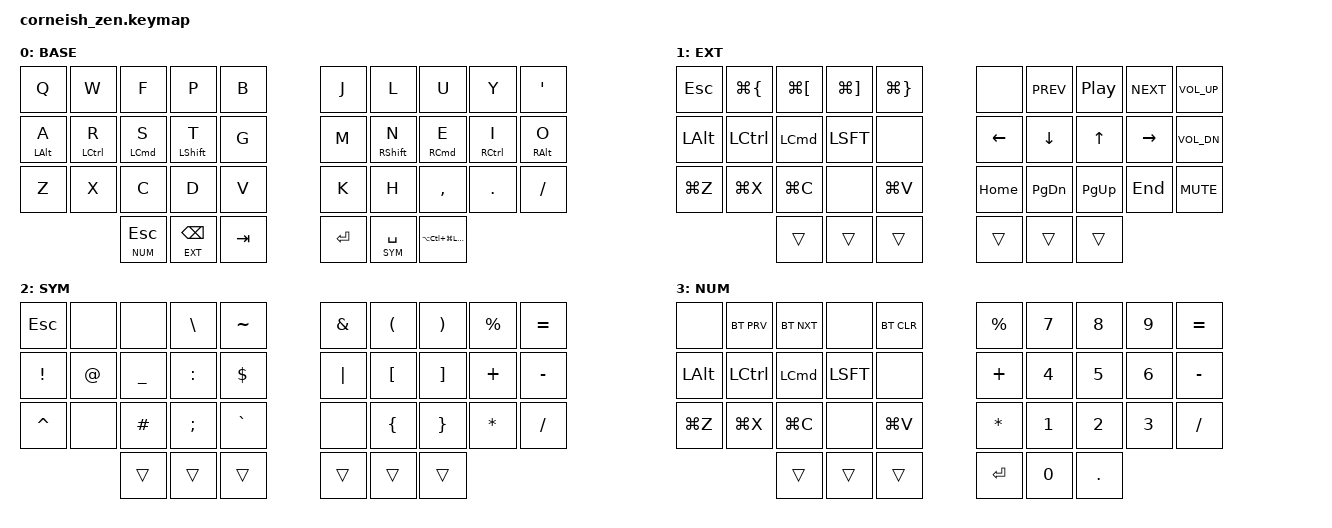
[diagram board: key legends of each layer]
/*
*
* Copyright (c) 2021 Darryl deHaan
* SPDX-License-Identifier: MIT
*
*/

#include <behaviors.dtsi>
#include <dt-bindings/zmk/keys.h>
#include <dt-bindings/zmk/bt.h>

/ {
  chosen {
    // zmk,matrix_transform = &default_transform;
    zmk,matrix_transform = &five_column_transform;
  };
};

#define DEFAULT 0
#define EXT    1
#define SYM    2
#define NUM    3

// https://zmk.dev/docs/behaviors/hold-tap
/ {
    behaviors {
      hm: balanced_homerow_mods {
        compatible = "zmk,behavior-hold-tap";
        label = "HOMEROW_MODS";
        #binding-cells = <2>;
        tapping-term-ms = <180>;
        quick-tap-ms = <0>;
        flavor = "balanced";
        bindings = <&kp>, <&kp>;
      };
      // For shift I do not want to chain the sticky key, I want it to bereleased
      // immediately
      // https://zmk.dev/docs/behaviors/sticky-key#example
      skq: sticky_key_quick_release {
        compatible = "zmk,behavior-sticky-key";
        label = "STICKY_KEY_QUICK_RELEASE";
        #binding-cells = <1>;
        bindings = <&kp>;
        release-after-ms = <1000>;
        quick-release;
      };
    };

    keymap {
      compatible = "zmk,keymap";

      default_layer {
        label = "BASE";
        bindings = <
          &kp Q      &kp W       &kp F      &kp P        &kp B        &kp J   &kp L        &kp U      &kp Y        &kp SQT
          &hm LALT A &hm LCTRL R &hm LCMD S &hm LSHIFT T &kp G        &kp M   &hm RSHIFT N &hm RCMD E &hm RCTRL I  &hm RALT O
          &kp Z      &kp X       &kp C      &kp D        &kp V        &kp K   &kp H        &kp COMMA  &kp DOT      &kp FSLH
                              &lt NUM ESC &lt EXT BSPC &kp TAB        &kp RET &lt SYM SPC &kp LA(LC(LG(LSHIFT)))
        >;
      };

      ext_layer {
        label = "EXT ";
        bindings = <
          &kp ESC   &kp LG(LBRC) &kp LG(LBKT) &kp LG(RBKT) &kp LG(RBRC)        &none    &kp C_PREV &kp C_PP  &kp C_NEXT &kp C_VOL_UP
          &kp LALT  &kp LCTL     &kp LCMD     &kp LSFT     &none               &kp LEFT &kp DOWN   &kp UP    &kp RIGHT  &kp C_VOL_DN
          &kp LG(Z) &kp LG(X)    &kp LG(C)    &none        &kp LG(V)           &kp HOME &kp PG_DN  &kp PG_UP &kp END    &kp C_MUTE
                                 &trans       &trans       &trans              &trans   &trans     &trans
        >;
      };

      sym_layer {
        label = "SYM ";
        bindings = <
          &kp ESC   &none  &none     &kp BSLH  &kp TILDE   &kp AMPS &kp LPAR &kp RPAR &kp PRCNT &kp EQUAL
          &kp EXCL  &kp AT &kp UNDER &kp COLON &kp DLLR    &kp PIPE &kp LBKT &kp RBKT &kp PLUS  &kp MINUS
          &kp CARET &none  &kp HASH  &kp SEMI  &kp GRAVE   &none    &kp LBRC &kp RBRC &kp ASTRK &kp SLASH
                           &trans    &trans    &trans      &trans   &trans   &trans
        >;
      };


      num_layer {
        label = "NUM ";
        bindings = <
          &none     &bt BT_PRV &bt BT_NXT &none    &bt BT_CLR  &kp PRCNT &kp N7    &kp N8    &kp N9    &kp EQUAL
          &kp LALT  &kp LCTL   &kp LCMD   &kp LSFT &none       &kp PLUS  &kp N4    &kp N5    &kp N6    &kp MINUS
          &kp LG(Z) &kp LG(X)  &kp LG(C)  &none    &kp LG(V)   &kp ASTRK &kp N1    &kp N2    &kp N3    &kp SLASH
                               &trans     &trans   &trans      &kp RET   &kp N0    &kp DOT
        >;
      };
    };

    // ==[ Combos ]=====================================================
    // https://zmk.dev/docs/features/combos
    //
    // ╭-----------------------------╮   ╭-----------------------------╮
    // |     |  1  |  2  |     |     |   |     |     |  7  |  8  |     |
    // |-----------------x-----x-----|   |-----x-----x-----------------|
    // |     |     |     | 13  |     |   |     | 16  |     |     |     |
    // |-----------------x-----x-----|   |-----x-----x-----------------|
    // |     |  21 |  22 |     |     |   |     |     |  27 |  28 |     |
    // ╰-----------------------------╯   ╰-----------------------------╯
    //             ╭-----------------╮   ╭-----------------╮
    //             |     |     |     |   |     |     |     |
    //             ╰-----------------╯   ╰-----------------╯
    //
    combos {
        compatible = "zmk,combos";
        combo_esc {
            timeout-ms = <100>; // These are keys on the two halves. It takes
                                // some practice to hit them in the same time.
            key-positions = <13 16>;
            bindings = <&caps_word>;
        };

        combo_shift {
            timeout-ms = <50>;
            key-positions = <27 28>;
            bindings = <&skq LSHIFT>;
        };
    };

};
